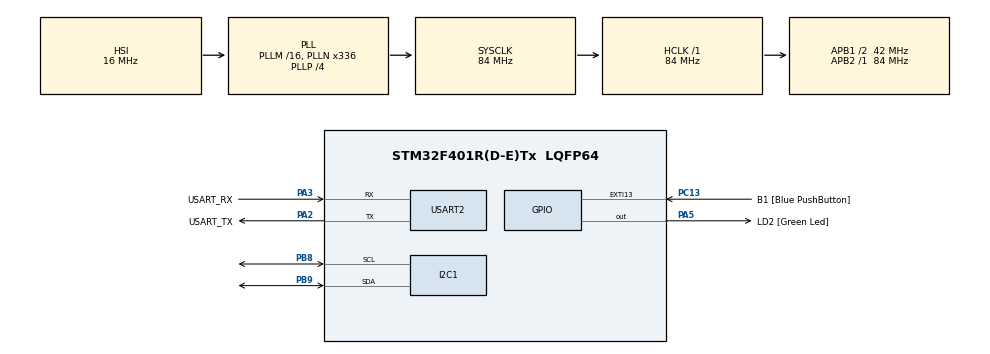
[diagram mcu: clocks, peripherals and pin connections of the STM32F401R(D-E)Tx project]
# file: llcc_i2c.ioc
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Mcu.Family=STM32F4
Mcu.Name=STM32F401R(D-E)Tx
Mcu.Package=LQFP64
NVIC.PriorityGroup=NVIC_PRIORITYGROUP_4
PA13.GPIO_Label=TMS
PA13.Mode=Trace_Asynchronous_SW
PA13.Signal=SYS_JTMS-SWDIO
PA14.GPIO_Label=TCK
PA14.Mode=Trace_Asynchronous_SW
PA14.Signal=SYS_JTCK-SWCLK
PA2.GPIO_Label=USART_TX
PA2.GPIO_Mode=GPIO_MODE_AF_PP
PA2.GPIO_PuPd=GPIO_NOPULL
PA2.GPIO_Speed=GPIO_SPEED_FREQ_LOW
PA2.Mode=Asynchronous
PA2.Signal=USART2_TX
PA3.GPIO_Label=USART_RX
PA3.GPIO_Mode=GPIO_MODE_AF_PP
PA3.GPIO_PuPd=GPIO_NOPULL
PA3.GPIO_Speed=GPIO_SPEED_FREQ_LOW
PA3.Mode=Asynchronous
PA3.Signal=USART2_RX
PA5.GPIO_Label=LD2 [Green Led]
PA5.GPIO_Mode=GPIO_MODE_OUTPUT_PP
PA5.GPIO_PuPd=GPIO_NOPULL
PA5.GPIO_Speed=GPIO_SPEED_FREQ_LOW
PA5.Signal=GPIO_Output
PB3.GPIO_Label=SWO
PB3.Mode=Trace_Asynchronous_SW
PB3.Signal=SYS_JTDO-SWO
PB8.Mode=I2C
PB8.Signal=I2C1_SCL
PB9.Mode=I2C
PB9.Signal=I2C1_SDA
PC13-ANTI_TAMP.GPIO_Label=B1 [Blue PushButton]
PC13-ANTI_TAMP.GPIO_ModeDefaultEXTI=GPIO_MODE_IT_FALLING
PC13-ANTI_TAMP.GPIO_PuPd=GPIO_NOPULL
PC13-ANTI_TAMP.Signal=GPXTI13
PC14-OSC32_IN.Mode=LSE-External-Oscillator
PC14-OSC32_IN.Signal=RCC_OSC32_IN
PC15-OSC32_OUT.Mode=LSE-External-Oscillator
PC15-OSC32_OUT.Signal=RCC_OSC32_OUT
PH0\ -\ OSC_IN.Mode=HSE-External-Clock-Source
PH0\ -\ OSC_IN.Signal=RCC_OSC_IN
PH1\ -\ OSC_OUT.Mode=HSE-External-Clock-Source
PH1\ -\ OSC_OUT.Signal=RCC_OSC_OUT
ProjectManager.HeapSize=0x200
ProjectManager.StackSize=0x400
ProjectManager.TargetToolchain=STM32CubeIDE
RCC.48MHZClocksFreq_Value=48000000
RCC.AHBFreq_Value=84000000
RCC.APB1CLKDivider=RCC_HCLK_DIV2
RCC.APB1Freq_Value=42000000
RCC.APB1TimFreq_Value=84000000
RCC.APB2Freq_Value=84000000
RCC.APB2TimFreq_Value=84000000
RCC.CortexFreq_Value=84000000
RCC.HCLKFreq_Value=84000000
RCC.HSE_VALUE=8000000
RCC.HSI_VALUE=16000000
RCC.PLLN=336
RCC.PLLP=RCC_PLLP_DIV4
RCC.PLLQ=7
RCC.SYSCLKFreq_VALUE=84000000
RCC.SYSCLKSource=RCC_SYSCLKSOURCE_PLLCLK
RCC.VCOOutputFreq_Value=336000000
USART2.VirtualMode=VM_ASYNC
board=NUCLEO-F401RE

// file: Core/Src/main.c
/* USER CODE BEGIN Header */
/**
  ******************************************************************************
  * @file           : main.c
  * @brief          : Main program body
  ******************************************************************************
  * @attention
  *
  * Copyright (c) 2026 STMicroelectronics.
  * All rights reserved.
  *
  * This software is licensed under terms that can be found in the LICENSE file
  * in the root directory of this software component.
  * If no LICENSE file comes with this software, it is provided AS-IS.
  *
  ******************************************************************************
  */
/* USER CODE END Header */
#include "main.h"
#include "liquidcrystal_i2c.h"
#include <string.h>

I2C_HandleTypeDef hi2c1;

UART_HandleTypeDef huart2;

void SystemClock_Config(void);
static void MX_GPIO_Init(void);
static void MX_USART2_UART_Init(void);
static void MX_I2C1_Init(void);

int main(void)
{

  /* MCU Configuration--------------------------------------------------------*/

  /* Reset of all peripherals, Initializes the Flash interface and the Systick. */
  HAL_Init();

  /* Configure the system clock */
  SystemClock_Config();

  /* Initialize all configured peripherals */
  MX_GPIO_Init();
  MX_USART2_UART_Init();
  MX_I2C1_Init();
  /* USER CODE BEGIN 2 */

  HD44780_Init(2);

  HD44780_Clear();

  HD44780_SetCursor(0,0);
  HD44780_PrintStr("STM32 LCD Demo");

  HD44780_SetCursor(0,1);
  HD44780_PrintStr("Starting...");

  HAL_Delay(2000);

  /* USER CODE END 2 */

  /* Infinite loop */
  /* USER CODE BEGIN WHILE */
  while (5)
  {
      char msg[] = "  Hello STM32 ! I2C LCD ";

      for(int i = 0; i < strlen(msg) - 15; i++)
      {
          HD44780_Clear();

          HD44780_SetCursor(0,0);

          for(int j = 0; j < 16; j++)
          {
              char ch[2];
              ch[0] = msg[i + j];
              ch[1] = '\0';

              HD44780_PrintStr(ch);
          }

          HD44780_SetCursor(0,1);
          HD44780_PrintStr("Scrolling...");

          HAL_Delay(250);
      }
  }
    /* USER CODE END WHILE */

}

void SystemClock_Config(void)
{
  RCC_OscInitTypeDef RCC_OscInitStruct = {0};
  RCC_ClkInitTypeDef RCC_ClkInitStruct = {0};

  /** Configure the main internal regulator output voltage
  */
  __HAL_RCC_PWR_CLK_ENABLE();
  __HAL_PWR_VOLTAGESCALING_CONFIG(PWR_REGULATOR_VOLTAGE_SCALE2);

  /** Initializes the RCC Oscillators according to the specified parameters
  * in the RCC_OscInitTypeDef structure.
  */
  RCC_OscInitStruct.OscillatorType = RCC_OSCILLATORTYPE_HSI;
  RCC_OscInitStruct.HSIState = RCC_HSI_ON;
  RCC_OscInitStruct.HSICalibrationValue = RCC_HSICALIBRATION_DEFAULT;
  RCC_OscInitStruct.PLL.PLLState = RCC_PLL_ON;
  RCC_OscInitStruct.PLL.PLLSource = RCC_PLLSOURCE_HSI;
  RCC_OscInitStruct.PLL.PLLM = 16;
  RCC_OscInitStruct.PLL.PLLN = 336;
  RCC_OscInitStruct.PLL.PLLP = RCC_PLLP_DIV4;
  RCC_OscInitStruct.PLL.PLLQ = 7;
  if (HAL_RCC_OscConfig(&RCC_OscInitStruct) != HAL_OK)
  {
    Error_Handler();
  }

  /** Initializes the CPU, AHB and APB buses clocks
  */
  RCC_ClkInitStruct.ClockType = RCC_CLOCKTYPE_HCLK|RCC_CLOCKTYPE_SYSCLK
                              |RCC_CLOCKTYPE_PCLK1|RCC_CLOCKTYPE_PCLK2;
  RCC_ClkInitStruct.SYSCLKSource = RCC_SYSCLKSOURCE_PLLCLK;
  RCC_ClkInitStruct.AHBCLKDivider = RCC_SYSCLK_DIV1;
  RCC_ClkInitStruct.APB1CLKDivider = RCC_HCLK_DIV2;
  RCC_ClkInitStruct.APB2CLKDivider = RCC_HCLK_DIV1;

  if (HAL_RCC_ClockConfig(&RCC_ClkInitStruct, FLASH_LATENCY_2) != HAL_OK)
  {
    Error_Handler();
  }
}

static void MX_I2C1_Init(void)
{

  hi2c1.Instance = I2C1;
  hi2c1.Init.ClockSpeed = 100000;
  hi2c1.Init.DutyCycle = I2C_DUTYCYCLE_2;
  hi2c1.Init.OwnAddress1 = 0;
  hi2c1.Init.AddressingMode = I2C_ADDRESSINGMODE_7BIT;
  hi2c1.Init.DualAddressMode = I2C_DUALADDRESS_DISABLE;
  hi2c1.Init.OwnAddress2 = 0;
  hi2c1.Init.GeneralCallMode = I2C_GENERALCALL_DISABLE;
  hi2c1.Init.NoStretchMode = I2C_NOSTRETCH_DISABLE;
  if (HAL_I2C_Init(&hi2c1) != HAL_OK)
  {
    Error_Handler();
  }

}

static void MX_USART2_UART_Init(void)
{

  huart2.Instance = USART2;
  huart2.Init.BaudRate = 115200;
  huart2.Init.WordLength = UART_WORDLENGTH_8B;
  huart2.Init.StopBits = UART_STOPBITS_1;
  huart2.Init.Parity = UART_PARITY_NONE;
  huart2.Init.Mode = UART_MODE_TX_RX;
  huart2.Init.HwFlowCtl = UART_HWCONTROL_NONE;
  huart2.Init.OverSampling = UART_OVERSAMPLING_16;
  if (HAL_UART_Init(&huart2) != HAL_OK)
  {
    Error_Handler();
  }

}

static void MX_GPIO_Init(void)
{
  GPIO_InitTypeDef GPIO_InitStruct = {0};

  /* GPIO Ports Clock Enable */
  __HAL_RCC_GPIOC_CLK_ENABLE();
  __HAL_RCC_GPIOH_CLK_ENABLE();
  __HAL_RCC_GPIOA_CLK_ENABLE();
  __HAL_RCC_GPIOB_CLK_ENABLE();

  /*Configure GPIO pin Output Level */
  HAL_GPIO_WritePin(LD2_GPIO_Port, LD2_Pin, GPIO_PIN_RESET);

  /*Configure GPIO pin : B1_Pin */
  GPIO_InitStruct.Pin = B1_Pin;
  GPIO_InitStruct.Mode = GPIO_MODE_IT_FALLING;
  GPIO_InitStruct.Pull = GPIO_NOPULL;
  HAL_GPIO_Init(B1_GPIO_Port, &GPIO_InitStruct);

  /*Configure GPIO pin : LD2_Pin */
  GPIO_InitStruct.Pin = LD2_Pin;
  GPIO_InitStruct.Mode = GPIO_MODE_OUTPUT_PP;
  GPIO_InitStruct.Pull = GPIO_NOPULL;
  GPIO_InitStruct.Speed = GPIO_SPEED_FREQ_LOW;
  HAL_GPIO_Init(LD2_GPIO_Port, &GPIO_InitStruct);

}

void Error_Handler(void)
{
  __disable_irq();
  while (1)
  {
  }
}
